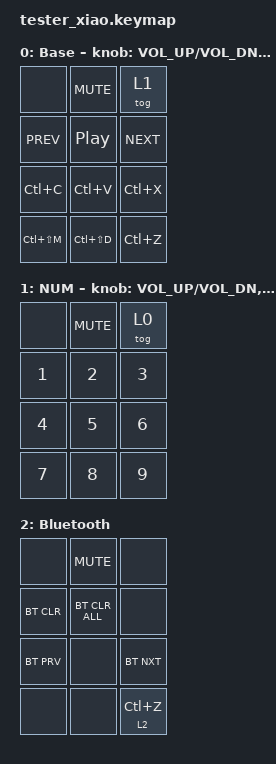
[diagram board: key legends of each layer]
#include <behaviors.dtsi>
#include <dt-bindings/zmk/keys.h>
#include <dt-bindings/zmk/bt.h>
#include <dt-bindings/zmk/outputs.h>
#include <dt-bindings/zmk/kscan_mock.h>

//-----------------------------
//     Dead    C_Mute    TOGL LAYER 1
//
//  Rewind      Play/Pause  Skip
//
//  Copy        Paste     Cut
//
//  CTRL+SHIFT+M CTRL+SHIFT+D CTRL+Z

/ {
    keymap {
        compatible = "zmk,keymap";

        default_layer {
            display-name = "Base";
            sensor-bindings = <&inc_dec_kp C_VOL_UP C_VOL_DN &inc_dec_kp PG_UP PG_DN>;
            bindings = <
        &none         &kp C_MUTE    &tog 1
        &kp C_PREV    &kp C_PP      &kp C_NEXT
        &kp LC(C)     &kp LC(V)     &kp LC(X)
        &kp LC(LS(M)) &kp LC(LS(D)) &kp LC(Z)
            >;
        };

        num {
            display-name = "NUM";
            bindings = <
            //label = "num";
                &none         &kp C_MUTE    &tog 0
                &kp 1         &kp 2         &kp 3
                &kp 4         &kp 5         &kp 6
                &kp 7         &kp 8         &kp 9
            >;
            sensor-bindings = <&inc_dec_kp C_VOL_UP C_VOL_DN &inc_dec_kp PG_UP PG_DN>;
        };

        ble {
            display-name = "Bluetooth";
            bindings = <
                &none       &kp C_MUTE      &none
                &bt BT_CLR  &bt BT_CLR_ALL  &none
                &bt BT_PRV  &none           &bt BT_NXT
                &none       &none           &lt 2 LC(Z)
            >;
        };

    };
        extra1 {
            display-name = "extra1";
            status = "reserved";
        };
        extra2 {
            display-name = "extra2";
            status = "reserved";
        };
};
